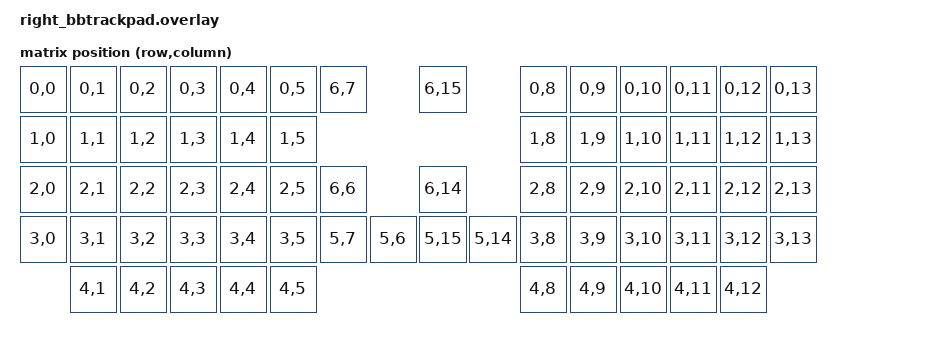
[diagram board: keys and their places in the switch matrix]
/*
 * Right A320 BlackBerry-style trackpad shield for ZitaoTech Sofle.
 * Derived from the seller's left_bbtrackpad A320 implementation and
 * the known-working right_trackpoint electrical/split path.
 *
 * Assumed right module interface (from existing right_trackpoint):
 *   I2C SDA   P0.07
 *   I2C SCL   P1.08
 *   MOTION_N  P0.14   (used by custom_driver_right/a320.c)
 *   LED PWM   P0.04
 *   A320 I2C  0x3B
 */

/* v6.4.11: keep the physical rotary push and BB pad click positions aligned
 * with the Studio physical layout on the RIGHT peripheral too.
 * Rotary pushes: RC(6,7) / RC(6,15) -> top logical special slots.
 * BB pad clicks: RC(6,6) / RC(6,14) -> middle logical special slots.
 */
&default_transform {
    rows = <7>;
    map = <
RC(0,0)  RC(0,1) RC(0,2) RC(0,3) RC(0,4) RC(0,5)  RC(6,7)             RC(6,15)           RC(0,8)  RC(0,9)  RC(0,10) RC(0,11) RC(0,12) RC(0,13)
RC(1,0)  RC(1,1) RC(1,2) RC(1,3) RC(1,4) RC(1,5)                                         RC(1,8)  RC(1,9)  RC(1,10) RC(1,11) RC(1,12) RC(1,13)
RC(2,0)  RC(2,1) RC(2,2) RC(2,3) RC(2,4) RC(2,5)  RC(6,6)             RC(6,14)           RC(2,8)  RC(2,9)  RC(2,10) RC(2,11) RC(2,12) RC(2,13)
RC(3,0)  RC(3,1) RC(3,2) RC(3,3) RC(3,4) RC(3,5)  RC(5,7)  RC(5,6)    RC(5,15) RC(5,14)  RC(3,8)  RC(3,9)  RC(3,10) RC(3,11) RC(3,12) RC(3,13)
         RC(4,1) RC(4,2) RC(4,3) RC(4,4) RC(4,5)                                         RC(4,8)  RC(4,9)  RC(4,10) RC(4,11) RC(4,12)
    >;
};

/ {
    chosen {
        /* Reuse the right side's proven LED implementation/pin. */
        zmk,custom_led = &custom_led;
    };

    custom_led: pwmledto {
        compatible = "pwm-leds";
        pwm_led_0 {
            pwms = <&pwm1 0 PWM_USEC(20) PWM_POLARITY_NORMAL>;
        };
    };

};

/ {
    behaviors {
        mled: mled {
            compatible = "zmk,behavior-mouse-led-sync";
            #binding-cells = <0>;
        };
    };
};

&pwm1 {
    status = "okay";
    pinctrl-0 = <&pwm1_default>;
    pinctrl-1 = <&pwm1_sleep>;
    pinctrl-names = "default", "sleep";
};

&i2c0 {
    status = "okay";
    compatible = "nordic,nrf-twim";
    clock-frequency = <I2C_BITRATE_FAST>;
    pinctrl-0 = <&i2c0_default>;
    pinctrl-1 = <&i2c0_sleep>;
    pinctrl-names = "default", "sleep";

    bbtrackpad: a320@3b {
        compatible = "avago,a320";
        reg = <0x3B>;
        status = "okay";
    };
};

/*
 * Deliberately keep the existing RIGHT pointing split ID/path.
 * On the LEFT central, trackpoint_split/trackpoint_listener already exists
 * and is proven by the current right TrackPoint firmware.  This avoids a
 * conflict with the LEFT local bbtrackpad_listener when both sides are A320.
 */
/ {
    split_inputs {
        #address-cells = <1>;
        #size-cells = <0>;

        trackpoint_split: trackpoint_split@0 {
            compatible = "zmk,input-split";
            reg = <0>;
        };
    };
};

&trackpoint_split {
    device = <&bbtrackpad>;
};

&pinctrl {
    i2c0_default: i2c0_default {
        group1 {
            psels = <NRF_PSEL(TWIM_SDA, 0, 7)>,
                    <NRF_PSEL(TWIM_SCL, 1, 8)>;
        };
    };

    i2c0_sleep: i2c0_sleep {
        group1 {
            psels = <NRF_PSEL(TWIM_SDA, 0, 7)>,
                    <NRF_PSEL(TWIM_SCL, 1, 8)>;
            low-power-enable;
        };
    };

    pwm1_default: pwm1_default {
        group1 {
            psels = <NRF_PSEL(PWM_OUT0, 0, 4)>;
        };
    };

    pwm1_sleep: pwm1_sleep {
        group1 {
            psels = <NRF_PSEL(PWM_OUT0, 0, 4)>;
            bias-pull-down;
        };
    };
};
